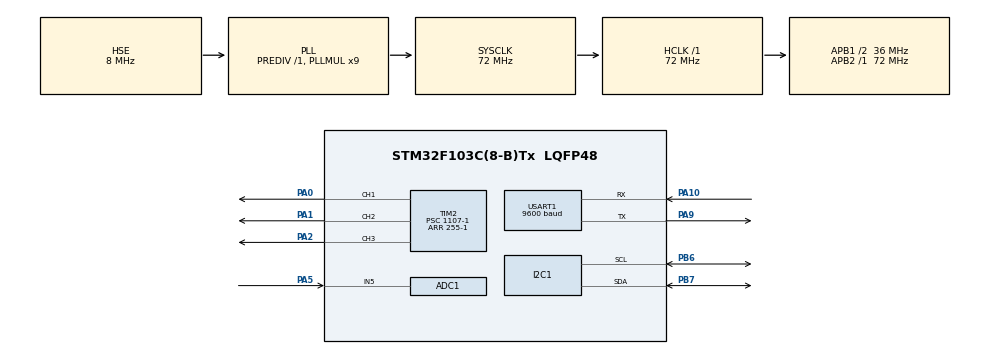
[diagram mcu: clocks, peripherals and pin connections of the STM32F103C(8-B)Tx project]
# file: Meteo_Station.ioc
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ADC1.Channel-0\#ChannelRegularConversion=ADC_CHANNEL_5
ADC1.ContinuousConvMode=ENABLE
ADC1.NbrOfConversionFlag=1
ADC1.Rank-0\#ChannelRegularConversion=1
ADC1.SamplingTime-0\#ChannelRegularConversion=ADC_SAMPLETIME_1CYCLE_5
ADC1.master=1
FREERTOS.Queues01=myQueue01,5,uint16_t,0,Dynamic,NULL,NULL
FREERTOS.Tasks01=my_BME280_Task,8,170,Start_BME280_Task,Default,NULL,Dynamic,NULL,NULL;my_PhotoResisto,8,128,Start_PhotoResistor_Task,Default,NULL,Dynamic,NULL,NULL;my_RGB_LED_Task,8,128,Start_RGB_LED_Task,Default,NULL,Dynamic,NULL,NULL;my_CO2_Task,8,170,Start_CO2_Task,Default,NULL,Dynamic,NULL,NULL
Mcu.Family=STM32F1
Mcu.Name=STM32F103C(8-B)Tx
Mcu.Package=LQFP48
NVIC.PriorityGroup=NVIC_PRIORITYGROUP_4
NVIC.TIM4_IRQn=true\:0\:0\:false\:false\:true\:false\:false\:true
NVIC.TimeBase=TIM4_IRQn
NVIC.TimeBaseIP=TIM4
NVIC.USART1_IRQn=true\:5\:0\:false\:false\:true\:true\:true\:true
PA0-WKUP.Signal=S_TIM2_CH1_ETR
PA1.Signal=S_TIM2_CH2
PA10.Mode=Asynchronous
PA10.Signal=USART1_RX
PA13.Mode=Trace_Asynchronous_SW
PA13.Signal=SYS_JTMS-SWDIO
PA14.Mode=Trace_Asynchronous_SW
PA14.Signal=SYS_JTCK-SWCLK
PA2.Signal=S_TIM2_CH3
PA5.Signal=ADCx_IN5
PA9.Mode=Asynchronous
PA9.Signal=USART1_TX
PB3.Mode=Trace_Asynchronous_SW
PB3.Signal=SYS_JTDO-TRACESWO
PB6.Mode=I2C
PB6.Signal=I2C1_SCL
PB7.Mode=I2C
PB7.Signal=I2C1_SDA
PD0-OSC_IN.Mode=HSE-External-Oscillator
PD0-OSC_IN.Signal=RCC_OSC_IN
PD1-OSC_OUT.Mode=HSE-External-Oscillator
PD1-OSC_OUT.Signal=RCC_OSC_OUT
ProjectManager.HeapSize=0x200
ProjectManager.StackSize=0x400
ProjectManager.TargetToolchain=STM32CubeIDE
RCC.ADCPresc=RCC_ADCPCLK2_DIV6
RCC.AHBFreq_Value=72000000
RCC.APB1CLKDivider=RCC_HCLK_DIV2
RCC.APB1Freq_Value=36000000
RCC.APB1TimFreq_Value=72000000
RCC.APB2Freq_Value=72000000
RCC.APB2TimFreq_Value=72000000
RCC.HCLKFreq_Value=72000000
RCC.PLLMUL=RCC_PLL_MUL9
RCC.PLLSourceVirtual=RCC_PLLSOURCE_HSE
RCC.SYSCLKFreq_VALUE=72000000
RCC.SYSCLKSource=RCC_SYSCLKSOURCE_PLLCLK
RCC.USBFreq_Value=72000000
SH.ADCx_IN5.0=ADC1_IN5,IN5
SH.S_TIM2_CH1_ETR.0=TIM2_CH1,PWM Generation1 CH1
SH.S_TIM2_CH2.0=TIM2_CH2,PWM Generation2 CH2
SH.S_TIM2_CH3.0=TIM2_CH3,PWM Generation3 CH3
TIM2.Channel-PWM\ Generation1\ CH1=TIM_CHANNEL_1
TIM2.Channel-PWM\ Generation2\ CH2=TIM_CHANNEL_2
TIM2.Channel-PWM\ Generation3\ CH3=TIM_CHANNEL_3
TIM2.Period=255-1
TIM2.Prescaler=1107-1
USART1.BaudRate=9600
USART1.VirtualMode=VM_ASYNC
VP_FREERTOS_VS_CMSIS_V2.Mode=CMSIS_V2
VP_SYS_VS_tim4.Mode=TIM4
VP_TIM2_VS_ClockSourceINT.Mode=Internal
board=custom

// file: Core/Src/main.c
/* USER CODE BEGIN Header */
/**
 ******************************************************************************
 * @file           : main.c
 * @brief          : Main program body
 ******************************************************************************
 * @attention
 *
 * <h2><center>&copy; Copyright (c) 2021 STMicroelectronics.
 * All rights reserved.</center></h2>
 *
 * This software component is licensed by ST under BSD 3-Clause license,
 * the "License"; You may not use this file except in compliance with the
 * License. You may obtain a copy of the License at:
 *                        opensource.org/licenses/BSD-3-Clause
 *
 ******************************************************************************
 */
/* USER CODE END Header */
#include "main.h"
#include "cmsis_os.h"

/* USER CODE BEGIN Includes */
#include "bme280.h"   /* для BME280 */
#include "i2c-lcd.h"  /* для LCD */
#include <stdio.h>    /* для printf */
uint16_t adc_value; // После проверки перенеси в область задачи "PhotoResistor"!

float var_t;
float var_p;
float var_h;
int var_light;
int brightness;
/*-------------------------------For CO2 (MH-Z19B)------------------------------------*/
#define rx_buffer_size 64
uint8_t rx_buffer[rx_buffer_size] = { 0, };
uint16_t rx_buffer_len; // Переменная для длинны данных.
uint16_t CO2_concentration;
uint8_t tx_buffer[9] = { 0xFF, 0x01, 0x86, 0x00, 0x00, 0x00, 0x00, 0x00, 0x79 }; // Read CO2 concentration
unsigned long T;
uint8_t crc_check;
/* USER CODE END Includes */

ADC_HandleTypeDef hadc1;

I2C_HandleTypeDef hi2c1;

TIM_HandleTypeDef htim2;

UART_HandleTypeDef huart1;

/* Definitions for my_BME280_Task */
osThreadId_t my_BME280_TaskHandle;
const osThreadAttr_t my_BME280_Task_attributes = { .name = "my_BME280_Task",
		.priority = (osPriority_t) osPriorityLow, .stack_size = 170 * 4 };
/* Definitions for my_PhotoResisto */
osThreadId_t my_PhotoResistoHandle;
const osThreadAttr_t my_PhotoResisto_attributes = { .name = "my_PhotoResisto",
		.priority = (osPriority_t) osPriorityLow, .stack_size = 128 * 4 };
/* Definitions for my_RGB_LED_Task */
osThreadId_t my_RGB_LED_TaskHandle;
const osThreadAttr_t my_RGB_LED_Task_attributes = { .name = "my_RGB_LED_Task",
		.priority = (osPriority_t) osPriorityLow, .stack_size = 128 * 4 };
/* Definitions for my_CO2_Task */
osThreadId_t my_CO2_TaskHandle;
const osThreadAttr_t my_CO2_Task_attributes = { .name = "my_CO2_Task",
		.priority = (osPriority_t) osPriorityLow, .stack_size = 170 * 4 };
/* Definitions for myQueue01 */
osMessageQueueId_t myQueue01Handle;
const osMessageQueueAttr_t myQueue01_attributes = { .name = "myQueue01" };

void SystemClock_Config(void);
static void MX_GPIO_Init(void);
static void MX_ADC1_Init(void);
static void MX_TIM2_Init(void);
static void MX_I2C1_Init(void);
static void MX_USART1_UART_Init(void);
void Start_BME280_Task(void *argument);
void Start_PhotoResistor_Task(void *argument);
void Start_RGB_LED_Task(void *argument);
void Start_CO2_Task(void *argument);

/* USER CODE BEGIN 0 */
/*-----------------------------for prinf--------------------------------------*/
int _write(int file, uint8_t *ptr, int len) {
	for (int DataIdx = 0; DataIdx < len; DataIdx++) {
		ITM_SendChar(*ptr++);
	}
	return len;
}
/*-----------------------------Function for RGB LED--------------------------------------*/
void rgb_set(uint8_t red, uint8_t green, uint8_t blue) {
	htim2.Instance->CCR1 = 255 - red; // Если у нас RGB с общим катодом то приведи к такому виду htim2.Instance->CCR1 = red;
	htim2.Instance->CCR2 = 255 - green; // Если у нас RGB с общим катодом то приведи к такому виду htim2.Instance->CCR1 = green;
	htim2.Instance->CCR3 = 255 - blue; // Если у нас RGB с общим катодом то приведи к такому виду htim2.Instance->CCR1 = blue;
}
/*-----------------------------For CO2 (MH-Z19B)--------------------------------------*/

/*------------------------IDLE_Callback---------------------------------------*/
void HAL_UART_IDLE_Callback(UART_HandleTypeDef *huart) {
	//char str_CO2[3] = { 0 };
	if (huart == &huart1) { //проверка, из нужного ли uart пришли данные
		//printf("IDLE = OK\n\r");
		__HAL_UART_DISABLE_IT(&huart1, UART_IT_IDLE);
		rx_buffer_len = rx_buffer_size - huart->RxXferCount;

		/*----------основные действия с входящими данными-----------*/
		/*printf("rx_buffer = %X", rx_buffer[0]);
		 printf(" %X", rx_buffer[1]);
		 printf(" %X", rx_buffer[2]);
		 printf(" %X", rx_buffer[3]);
		 printf(" %X", rx_buffer[4]);
		 printf(" %X", rx_buffer[5]);
		 printf(" %X", rx_buffer[6]);
		 printf(" %X", rx_buffer[7]);
		 printf(" %X\r\n", rx_buffer[8]);*/
		crc_check = (~(rx_buffer[1] + rx_buffer[2] + rx_buffer[3] + rx_buffer[4]
				+ rx_buffer[5] + rx_buffer[6] + rx_buffer[7]) + 1);
		if (crc_check == rx_buffer[8]) {
			//printf("CRC = OK\r\n");
			//CO2_concentration = rx_buffer[2] * 256 + rx_buffer[3];
			//printf("CO2 = %d\r\n", CO2_concentration);
			//sprintf(str_CO2, "Co2-%.1f", CO2_concentration);
			//lcd_put_cur(0, 8);
			//lcd_send_string(str_CO2);
		} else {
			printf("CRC != OK\r\n");
		}

		/*----------основные действия с входящими данными-----------*/

		HAL_UART_AbortReceive_IT(&huart1);
		__HAL_UART_CLEAR_IDLEFLAG(&huart1);
		__HAL_UART_ENABLE_IT(&huart1, UART_IT_IDLE);
		HAL_UART_Receive_IT(&huart1, rx_buffer, rx_buffer_size);
	}
}
/*------------------------IDLE_Callback---------------------------------------*/

/*------------------------RxCpltCallback---------------------------------------*/
void HAL_UART_RxCpltCallback(UART_HandleTypeDef *huart) {
	if (huart == &huart1) { //проверка, из нужного ли uart пришли данные
		printf("RxCpltCallback = OK\n\r");
		__HAL_UART_DISABLE_IT(&huart1, UART_IT_IDLE);

		printf("rx_buffer is overflow\n\r");

		HAL_UART_AbortReceive_IT(&huart1);
		__HAL_UART_CLEAR_IDLEFLAG(&huart1);
		__HAL_UART_ENABLE_IT(&huart1, UART_IT_IDLE);
		HAL_UART_Receive_IT(&huart1, rx_buffer, rx_buffer_size);

	}
}

/*------------------------For BME280---------------------------------------*/
float temperature;
float humidity;
float pressure;

struct bme280_dev dev;
struct bme280_data comp_data;
int8_t rslt;

char line1[16];
char line2[16];

int8_t user_i2c_read(uint8_t id, uint8_t reg_addr, uint8_t *data, uint16_t len) {
	if (HAL_I2C_Master_Transmit(&hi2c1, (id << 1), &reg_addr, 1, 10) != HAL_OK)
		return -1;
	if (HAL_I2C_Master_Receive(&hi2c1, (id << 1) | 0x01, data, len, 10)
			!= HAL_OK)
		return -1;

	return 0;
}

void user_delay_ms(uint32_t period) {
	HAL_Delay(period);
}

int8_t user_i2c_write(uint8_t id, uint8_t reg_addr, uint8_t *data, uint16_t len) {
	int8_t *buf;
	buf = malloc(len + 1);
	buf[0] = reg_addr;
	memcpy(buf + 1, data, len);

	if (HAL_I2C_Master_Transmit(&hi2c1, (id << 1), (uint8_t*) buf, len + 1,
	HAL_MAX_DELAY) != HAL_OK)
		return -1;

	free(buf);
	return 0;
}
/* USER CODE END 0 */

int main(void) {

	/* MCU Configuration--------------------------------------------------------*/

	/* Reset of all peripherals, Initializes the Flash interface and the Systick. */
	HAL_Init();

	/* Configure the system clock */
	SystemClock_Config();

	/* Initialize all configured peripherals */
	MX_GPIO_Init();
	MX_ADC1_Init();
	MX_TIM2_Init();
	MX_I2C1_Init();
	MX_USART1_UART_Init();
	/* USER CODE BEGIN 2 */
	/*-----------------------------For ADC--------------------------------------*/
	HAL_ADC_Start(&hadc1); // Запустили АЦП
	HAL_ADCEx_Calibration_Start(&hadc1); // Делаем калибровку ADC
	/*-----------------------------For RGB--------------------------------------*/
	HAL_TIM_PWM_Start(&htim2, TIM_CHANNEL_1);
	HAL_TIM_PWM_Start(&htim2, TIM_CHANNEL_2);
	HAL_TIM_PWM_Start(&htim2, TIM_CHANNEL_3);
	/*-----------------------------For LCD--------------------------------------*/
	lcd_init();
	lcd_clear(); // Очищаем LCD
	lcd_put_cur(0, 0); // Устанавливаем курсор в нужное место
	lcd_send_string("Hello World!");
	HAL_Delay(1000);
	lcd_put_cur(1, 0); // Устанавливаем курсор в нужное место
	lcd_send_string("Cool, It works!");
	HAL_Delay(1000);
	lcd_clear(); // Очищаем LCD
	/*------------------------For CO2 (MH-Z19B)---------------------------------------*/
	__HAL_UART_ENABLE_IT(&huart1, UART_IT_IDLE);
	HAL_UART_Receive_IT(&huart1, rx_buffer, rx_buffer_size); // Прием данных
	T = HAL_GetTick();

	/*------------------------For BME280---------------------------------------*/
	dev.dev_id = BME280_I2C_ADDR_PRIM;
	dev.intf = BME280_I2C_INTF;
	dev.read = user_i2c_read;
	dev.write = user_i2c_write;
	dev.delay_ms = user_delay_ms;

	rslt = bme280_init(&dev);

	/* BME280 */
	dev.settings.osr_h = BME280_OVERSAMPLING_1X;
	dev.settings.osr_p = BME280_OVERSAMPLING_16X;
	dev.settings.osr_t = BME280_OVERSAMPLING_2X;
	dev.settings.filter = BME280_FILTER_COEFF_16;
	rslt = bme280_set_sensor_settings(
			BME280_OSR_PRESS_SEL | BME280_OSR_TEMP_SEL | BME280_OSR_HUM_SEL
					| BME280_FILTER_SEL, &dev);

	/* USER CODE END 2 */

	/* Init scheduler */
	osKernelInitialize();

	/* Create the queue(s) */
	/* creation of myQueue01 */
	myQueue01Handle = osMessageQueueNew(5, sizeof(uint16_t),
			&myQueue01_attributes);

	/* Create the thread(s) */
	/* creation of my_BME280_Task */
	my_BME280_TaskHandle = osThreadNew(Start_BME280_Task, NULL,
			&my_BME280_Task_attributes);

	/* creation of my_PhotoResisto */
	my_PhotoResistoHandle = osThreadNew(Start_PhotoResistor_Task, NULL,
			&my_PhotoResisto_attributes);

	/* creation of my_RGB_LED_Task */
	my_RGB_LED_TaskHandle = osThreadNew(Start_RGB_LED_Task, NULL,
			&my_RGB_LED_Task_attributes);

	/* creation of my_CO2_Task */
	my_CO2_TaskHandle = osThreadNew(Start_CO2_Task, NULL,
			&my_CO2_Task_attributes);

	/* Start scheduler */
	osKernelStart();

	/* We should never get here as control is now taken by the scheduler */
	/* Infinite loop */
	while (1) {

	}
}

void SystemClock_Config(void) {
	RCC_OscInitTypeDef RCC_OscInitStruct = { 0 };
	RCC_ClkInitTypeDef RCC_ClkInitStruct = { 0 };
	RCC_PeriphCLKInitTypeDef PeriphClkInit = { 0 };

	/** Initializes the RCC Oscillators according to the specified parameters
	 * in the RCC_OscInitTypeDef structure.
	 */
	RCC_OscInitStruct.OscillatorType = RCC_OSCILLATORTYPE_HSE;
	RCC_OscInitStruct.HSEState = RCC_HSE_ON;
	RCC_OscInitStruct.HSEPredivValue = RCC_HSE_PREDIV_DIV1;
	RCC_OscInitStruct.HSIState = RCC_HSI_ON;
	RCC_OscInitStruct.PLL.PLLState = RCC_PLL_ON;
	RCC_OscInitStruct.PLL.PLLSource = RCC_PLLSOURCE_HSE;
	RCC_OscInitStruct.PLL.PLLMUL = RCC_PLL_MUL9;
	if (HAL_RCC_OscConfig(&RCC_OscInitStruct) != HAL_OK) {
		Error_Handler();
	}
	/** Initializes the CPU, AHB and APB buses clocks
	 */
	RCC_ClkInitStruct.ClockType = RCC_CLOCKTYPE_HCLK | RCC_CLOCKTYPE_SYSCLK
			| RCC_CLOCKTYPE_PCLK1 | RCC_CLOCKTYPE_PCLK2;
	RCC_ClkInitStruct.SYSCLKSource = RCC_SYSCLKSOURCE_PLLCLK;
	RCC_ClkInitStruct.AHBCLKDivider = RCC_SYSCLK_DIV1;
	RCC_ClkInitStruct.APB1CLKDivider = RCC_HCLK_DIV2;
	RCC_ClkInitStruct.APB2CLKDivider = RCC_HCLK_DIV1;

	if (HAL_RCC_ClockConfig(&RCC_ClkInitStruct, FLASH_LATENCY_2) != HAL_OK) {
		Error_Handler();
	}
	PeriphClkInit.PeriphClockSelection = RCC_PERIPHCLK_ADC;
	PeriphClkInit.AdcClockSelection = RCC_ADCPCLK2_DIV6;
	if (HAL_RCCEx_PeriphCLKConfig(&PeriphClkInit) != HAL_OK) {
		Error_Handler();
	}
}

static void MX_ADC1_Init(void) {

	ADC_ChannelConfTypeDef sConfig = { 0 };

	/** Common config
	 */
	hadc1.Instance = ADC1;
	hadc1.Init.ScanConvMode = ADC_SCAN_DISABLE;
	hadc1.Init.ContinuousConvMode = ENABLE;
	hadc1.Init.DiscontinuousConvMode = DISABLE;
	hadc1.Init.ExternalTrigConv = ADC_SOFTWARE_START;
	hadc1.Init.DataAlign = ADC_DATAALIGN_RIGHT;
	hadc1.Init.NbrOfConversion = 1;
	if (HAL_ADC_Init(&hadc1) != HAL_OK) {
		Error_Handler();
	}
	/** Configure Regular Channel
	 */
	sConfig.Channel = ADC_CHANNEL_5;
	sConfig.Rank = ADC_REGULAR_RANK_1;
	sConfig.SamplingTime = ADC_SAMPLETIME_1CYCLE_5;
	if (HAL_ADC_ConfigChannel(&hadc1, &sConfig) != HAL_OK) {
		Error_Handler();
	}

}

static void MX_I2C1_Init(void) {

	hi2c1.Instance = I2C1;
	hi2c1.Init.ClockSpeed = 100000;
	hi2c1.Init.DutyCycle = I2C_DUTYCYCLE_2;
	hi2c1.Init.OwnAddress1 = 0;
	hi2c1.Init.AddressingMode = I2C_ADDRESSINGMODE_7BIT;
	hi2c1.Init.DualAddressMode = I2C_DUALADDRESS_DISABLE;
	hi2c1.Init.OwnAddress2 = 0;
	hi2c1.Init.GeneralCallMode = I2C_GENERALCALL_DISABLE;
	hi2c1.Init.NoStretchMode = I2C_NOSTRETCH_DISABLE;
	if (HAL_I2C_Init(&hi2c1) != HAL_OK) {
		Error_Handler();
	}

}

static void MX_TIM2_Init(void) {

	TIM_ClockConfigTypeDef sClockSourceConfig = { 0 };
	TIM_MasterConfigTypeDef sMasterConfig = { 0 };
	TIM_OC_InitTypeDef sConfigOC = { 0 };

	htim2.Instance = TIM2;
	htim2.Init.Prescaler = 1107 - 1;
	htim2.Init.CounterMode = TIM_COUNTERMODE_UP;
	htim2.Init.Period = 255 - 1;
	htim2.Init.ClockDivision = TIM_CLOCKDIVISION_DIV1;
	htim2.Init.AutoReloadPreload = TIM_AUTORELOAD_PRELOAD_DISABLE;
	if (HAL_TIM_Base_Init(&htim2) != HAL_OK) {
		Error_Handler();
	}
	sClockSourceConfig.ClockSource = TIM_CLOCKSOURCE_INTERNAL;
	if (HAL_TIM_ConfigClockSource(&htim2, &sClockSourceConfig) != HAL_OK) {
		Error_Handler();
	}
	if (HAL_TIM_PWM_Init(&htim2) != HAL_OK) {
		Error_Handler();
	}
	sMasterConfig.MasterOutputTrigger = TIM_TRGO_RESET;
	sMasterConfig.MasterSlaveMode = TIM_MASTERSLAVEMODE_DISABLE;
	if (HAL_TIMEx_MasterConfigSynchronization(&htim2, &sMasterConfig)
			!= HAL_OK) {
		Error_Handler();
	}
	sConfigOC.OCMode = TIM_OCMODE_PWM1;
	sConfigOC.Pulse = 0;
	sConfigOC.OCPolarity = TIM_OCPOLARITY_HIGH;
	sConfigOC.OCFastMode = TIM_OCFAST_DISABLE;
	if (HAL_TIM_PWM_ConfigChannel(&htim2, &sConfigOC, TIM_CHANNEL_1)
			!= HAL_OK) {
		Error_Handler();
	}
	if (HAL_TIM_PWM_ConfigChannel(&htim2, &sConfigOC, TIM_CHANNEL_2)
			!= HAL_OK) {
		Error_Handler();
	}
	if (HAL_TIM_PWM_ConfigChannel(&htim2, &sConfigOC, TIM_CHANNEL_3)
			!= HAL_OK) {
		Error_Handler();
	}
	HAL_TIM_MspPostInit(&htim2);

}

static void MX_USART1_UART_Init(void) {

	huart1.Instance = USART1;
	huart1.Init.BaudRate = 9600;
	huart1.Init.WordLength = UART_WORDLENGTH_8B;
	huart1.Init.StopBits = UART_STOPBITS_1;
	huart1.Init.Parity = UART_PARITY_NONE;
	huart1.Init.Mode = UART_MODE_TX_RX;
	huart1.Init.HwFlowCtl = UART_HWCONTROL_NONE;
	huart1.Init.OverSampling = UART_OVERSAMPLING_16;
	if (HAL_UART_Init(&huart1) != HAL_OK) {
		Error_Handler();
	}

}

static void MX_GPIO_Init(void) {

	/* GPIO Ports Clock Enable */
	__HAL_RCC_GPIOD_CLK_ENABLE();
	__HAL_RCC_GPIOA_CLK_ENABLE();
	__HAL_RCC_GPIOB_CLK_ENABLE();

}

void Start_BME280_Task(void *argument) {
	/* USER CODE BEGIN 5 */
	char str_t[6] = { 0 };
	char str_h[6] = { 0 };
	char str_p[6] = { 0 };
	/* Infinite loop */
	for (;;) {
		rslt = bme280_set_sensor_mode(BME280_FORCED_MODE, &dev);
		dev.delay_ms(40);
		/* BME280 getrslt */
		rslt = bme280_get_sensor_data(BME280_ALL, &comp_data, &dev);
		if (rslt == BME280_OK) {
			temperature = comp_data.temperature / 100.0; /* °C  */
			humidity = comp_data.humidity / 1024.0; /* %   */
			pressure = comp_data.pressure / 10000.0; /* hPa */

			//printf("TEMP: %03.1f \n", temperature);
			//printf("HUMID: %03.1f \n", humidity);
			//printf("PRESSURE: %03.1f \n", pressure);

			sprintf(str_t, "T:%.1f", temperature);
			lcd_put_cur(0, 0);
			lcd_send_string(str_t);
			lcd_send_string("C");

			sprintf(str_h, "H:%.1f", humidity);
			lcd_put_cur(1, 9);
			lcd_send_string(str_h);
			lcd_send_string("%");

			sprintf(str_p, "P:%.1f", pressure);
			lcd_put_cur(1, 0);
			lcd_send_string(str_p);
			//lcd_send_string("mm.Hg");
			var_t = temperature;
			var_p = pressure;
			var_h = humidity;

			if (var_t >= 20 && var_t < 24) {
				rgb_set(0, brightness, 0);   // green only
			} else if (var_t >= 24 && var_t <= 25) {
				rgb_set(0, 0, brightness);   // blue only
			} else {
				rgb_set(brightness, 0, 0); // red only.
			}

			osDelay(500);
		}
	}
	/* USER CODE END 5 */
}

void Start_PhotoResistor_Task(void *argument) {
	/* USER CODE BEGIN Start_PhotoResistor_Task */
	/* Infinite loop */
	for (;;) {
		HAL_ADC_Start(&hadc1); // Эту функция запускает АЦП
		HAL_ADC_PollForConversion(&hadc1, 100); // Ожидание окончания преобразования! 100мс -это не означает...
		adc_value = HAL_ADC_GetValue(&hadc1); // Читаем наше значение с АЦП1.
		printf("adc_value - %d \n", adc_value);
		var_light = adc_value;
		HAL_ADC_Stop(&hadc1); // Останавливаем проеобразование сигнала с АЦП1

		if (var_light > 3500) {
			brightness = 5;
		} else {
			brightness = 255;
		}
	}
	/* USER CODE END Start_PhotoResistor_Task */
}

void Start_RGB_LED_Task(void *argument) {
	/* USER CODE BEGIN Start_RGB_LED_Task */
	/* Infinite loop */
	for (;;) {
		if (var_light >= 0 && var_light <= 1000) {
			//rgb_set(50, 0, 0); // red only.
		} else if (var_light >= 3000 && var_light <= 4095) {
			//rgb_set(0, 0, 50);   // blue only
		} else {
			//rgb_set(0, 50, 0);   // green only
		}

		/*
		 rgb_set(5, 0, 0); // red only. Для увеличения/уменьшения яркости LED меняй значения в скобках!
		 osDelay(3000);

		 rgb_set(0, 5, 0);   // green only
		 osDelay(3000);

		 rgb_set(0, 0, 5);   // blue only
		 osDelay(3000);
		 */
	}
	/* USER CODE END Start_RGB_LED_Task */
}

void Start_CO2_Task(void *argument) {
	/* USER CODE BEGIN Start_CO2_Task */
	char str_Co2[5] = { 0 };
	/* Infinite loop */
	for (;;) {
		if (HAL_GetTick() - T >= 1000) { // Каждые 1000 тиков отправляем данные по UART
			T = HAL_GetTick();
			HAL_UART_Transmit_IT(&huart1, tx_buffer, 9);

			CO2_concentration = rx_buffer[2] * 256 + rx_buffer[3];
			//printf("CO2 = %d\r\n", CO2_concentration);
			sprintf(str_Co2, "CO2:%d", CO2_concentration);
			lcd_put_cur(0, 8);
			lcd_send_string(str_Co2);

		}
		osDelay(1);
	}
	/* USER CODE END Start_CO2_Task */
}

void HAL_TIM_PeriodElapsedCallback(TIM_HandleTypeDef *htim) {
	if (htim->Instance == TIM4) {
		HAL_IncTick();
	}
}

void Error_Handler(void) {
	__disable_irq();
	while (1) {
	}
}

/************************ (C) COPYRIGHT STMicroelectronics *****END OF FILE****/
